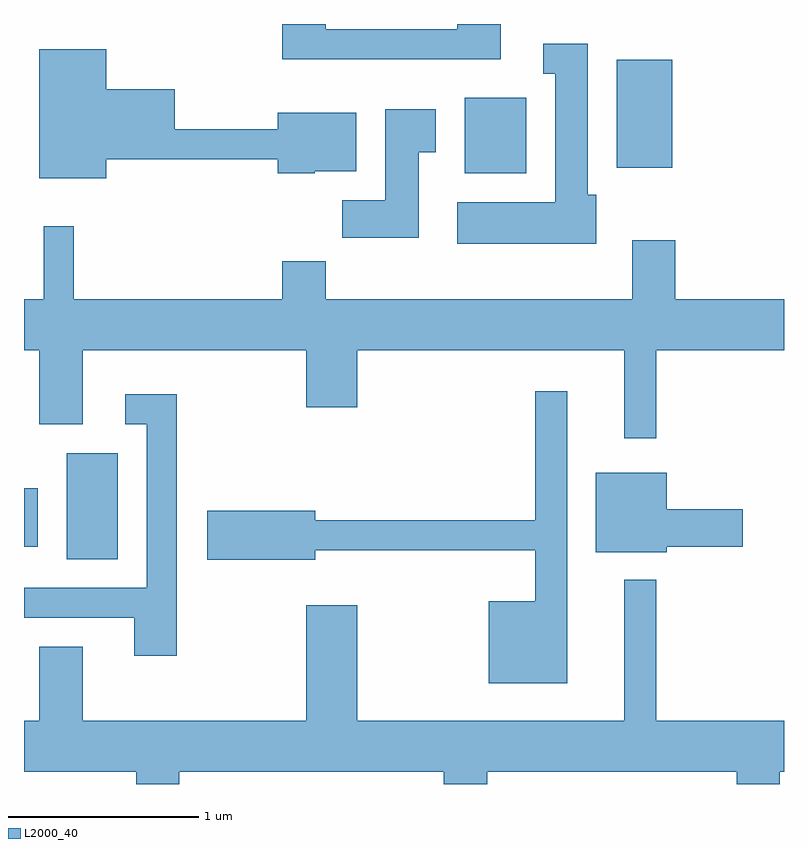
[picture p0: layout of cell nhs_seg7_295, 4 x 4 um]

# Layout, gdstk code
import gdstk
lib = gdstk.Library(unit=1e-6, precision=1e-09)
def R(c, l, rs):  # rectangles x0, y0, x1, y1
    for r in rs: c.add(gdstk.rectangle(r[:2], r[2:], *l))
def P(c, l, *ps):  # polygons
    for p in ps: c.add(gdstk.Polygon(p, *l))
L2000_40 = (2000, 40)

nhs_seg7_295 = lib.new_cell('nhs_seg7_295')
R(nhs_seg7_295, L2000_40, [(193.836,1715.436,194.104,1715.994), (193.611,1715.501,193.684,1715.809), (195.931,1717.466,196.254,1717.864), (196.731,1717.496,197.024,1718.064)])
P(nhs_seg7_295, L2000_40, [(196.119,1718.252),(195.891,1718.252),(195.891,1718.224),(195.199,1718.224),(195.199,1718.252),(194.971,1718.252),(194.971,1718.066),(196.119,1718.066)],
  [(196.624,1717.354),(196.579,1717.354),(196.579,1718.149),(196.343,1718.149),(196.343,1717.991),(196.406,1717.991),(196.406,1717.314),(195.891,1717.314),(195.891,1717.096),(196.624,1717.096)],
  [(194.044,1717.541),(194.946,1717.541),(194.946,1717.466),(195.14,1717.466),(195.14,1717.476),(195.359,1717.476),(195.359,1717.784),(194.946,1717.784),(194.946,1717.699),(194.404,1717.699),(194.404,1717.909),(194.044,1717.909),(194.044,1718.119),(193.691,1718.119),(193.691,1717.441),(194.044,1717.441)],
  [(195.689,1717.576),(195.779,1717.576),(195.779,1717.804),(195.511,1717.804),(195.511,1717.324),(195.286,1717.324),(195.286,1717.126),(195.689,1717.126)],
  [(196.939,1716.536),(197.611,1716.536),(197.611,1716.804),(197.039,1716.804),(197.039,1717.114),(196.811,1717.114),(196.811,1716.804),(195.199,1716.804),(195.199,1717.004),(194.971,1717.004),(194.971,1716.804),(193.874,1716.804),(193.874,1717.188),(193.716,1717.188),(193.716,1716.804),(193.611,1716.804),(193.611,1716.536),(193.691,1716.536),(193.691,1716.146),(193.919,1716.146),(193.919,1716.536),(195.096,1716.536),(195.096,1716.236),(195.364,1716.236),(195.364,1716.536),(196.771,1716.536),(196.771,1716.073),(196.939,1716.073)],
  [(196.469,1716.318),(196.301,1716.318),(196.301,1715.639),(195.144,1715.639),(195.144,1715.689),(194.576,1715.689),(194.576,1715.431),(195.144,1715.431),(195.144,1715.481),(196.301,1715.481),(196.301,1715.214),(196.056,1715.214),(196.056,1714.781),(196.469,1714.781)],
  [(194.414,1716.304),(194.143,1716.304),(194.143,1716.146),(194.256,1716.146),(194.256,1715.284),(193.611,1715.284),(193.611,1715.126),(194.191,1715.126),(194.191,1714.926),(194.414,1714.926)],
  [(196.994,1715.501),(197.394,1715.501),(197.394,1715.699),(196.994,1715.699),(196.994,1715.889),(196.621,1715.889),(196.621,1715.471),(196.994,1715.471)],
  [(194.429,1714.316),(195.821,1714.316),(195.821,1714.252),(196.049,1714.252),(196.049,1714.316),(197.361,1714.316),(197.361,1714.252),(197.589,1714.252),(197.589,1714.316),(197.611,1714.316),(197.611,1714.584),(196.939,1714.584),(196.939,1715.328),(196.771,1715.328),(196.771,1714.584),(195.364,1714.584),(195.364,1715.194),(195.096,1715.194),(195.096,1714.584),(193.919,1714.584),(193.919,1714.974),(193.691,1714.974),(193.691,1714.584),(193.611,1714.584),(193.611,1714.316),(194.201,1714.316),(194.201,1714.252),(194.429,1714.252)])

lib.write_gds('nhs_seg7_295.gds')
